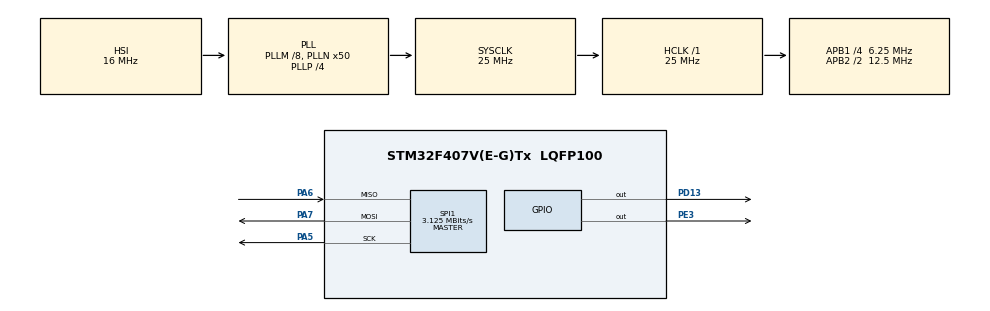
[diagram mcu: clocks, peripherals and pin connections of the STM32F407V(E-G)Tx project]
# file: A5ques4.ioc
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Mcu.Family=STM32F4
Mcu.Name=STM32F407V(E-G)Tx
Mcu.Package=LQFP100
NVIC.PriorityGroup=NVIC_PRIORITYGROUP_0
NVIC.TIM6_DAC_IRQn=true\:0\:0\:false\:false\:true\:true\:true\:true
PA5.Mode=Full_Duplex_Master
PA5.Signal=SPI1_SCK
PA6.Mode=Full_Duplex_Master
PA6.Signal=SPI1_MISO
PA7.Mode=Full_Duplex_Master
PA7.Signal=SPI1_MOSI
PD13.Signal=GPIO_Output
PE3.Signal=GPIO_Output
ProjectManager.HeapSize=0x200
ProjectManager.StackSize=0x400
ProjectManager.TargetToolchain=STM32CubeIDE
RCC.48MHZClocksFreq_Value=14285714.285714285
RCC.AHBFreq_Value=25000000
RCC.APB1CLKDivider=RCC_HCLK_DIV4
RCC.APB1Freq_Value=6250000
RCC.APB1TimFreq_Value=12500000
RCC.APB2CLKDivider=RCC_HCLK_DIV2
RCC.APB2Freq_Value=12500000
RCC.APB2TimFreq_Value=25000000
RCC.CortexFreq_Value=25000000
RCC.HCLKFreq_Value=25000000
RCC.HSE_VALUE=8000000
RCC.HSI_VALUE=16000000
RCC.LSE_VALUE=32768
RCC.PLLM=8
RCC.PLLN=50
RCC.PLLP=RCC_PLLP_DIV4
RCC.PLLQ=7
RCC.SYSCLKFreq_VALUE=25000000
RCC.SYSCLKSource=RCC_SYSCLKSOURCE_PLLCLK
RCC.VCOOutputFreq_Value=100000000
SPI1.BaudRatePrescaler=SPI_BAUDRATEPRESCALER_4
SPI1.CalculateBaudRate=3.125 MBits/s
SPI1.Direction=SPI_DIRECTION_2LINES
SPI1.Mode=SPI_MODE_MASTER
SPI1.VirtualType=VM_MASTER
TIM6.Period=999
TIM6.Prescaler=12499
VP_TIM6_VS_ClockSourceINT.Mode=Enable_Timer
board=STM32F407G-DISC1

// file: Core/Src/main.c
/* USER CODE BEGIN Header */
/**
  ******************************************************************************
  * @file           : main.c
  * @brief          : Main program body
  ******************************************************************************
  * @attention
  *
  * Copyright (c) 2026 STMicroelectronics.
  * All rights reserved.
  *
  * This software is licensed under terms that can be found in the LICENSE file
  * in the root directory of this software component.
  * If no LICENSE file comes with this software, it is provided AS-IS.
  *
  ******************************************************************************
  */
/* USER CODE END Header */
#include "main.h"

/* USER CODE BEGIN Includes */
#include "lis3dsh.h"
#include <stdio.h>
#include <string.h>
#include <math.h>
/* USER CODE END Includes */

SPI_HandleTypeDef hspi1;

TIM_HandleTypeDef htim6;

/* USER CODE BEGIN PV */
volatile uint8_t t_flag =0;
uint32_t led_delay = 1000;
char str[64];
/* USER CODE END PV */

void SystemClock_Config(void);
static void MX_GPIO_Init(void);
static void MX_SPI1_Init(void);
static void MX_TIM6_Init(void);

/* USER CODE BEGIN 0 */
void HAL_TIM_PeriodElapsedCallback (TIM_HandleTypeDef * htim) {

	if(htim->Instance == TIM6)
	{
		t_flag = 1;
	}

}
/* USER CODE END 0 */

int main(void)
{

  /* MCU Configuration--------------------------------------------------------*/

  /* Reset of all peripherals, Initializes the Flash interface and the Systick. */
  HAL_Init();

  /* Configure the system clock */
  SystemClock_Config();

  /* Initialize all configured peripherals */
  MX_GPIO_Init();
  MX_SPI1_Init();
  MX_TIM6_Init();
  /* USER CODE BEGIN 2 */
  accel_init();
  HAL_TIM_Base_Start_IT(&htim6);

  /* USER CODE END 2 */

  /* Infinite loop */
  /* USER CODE BEGIN WHILE */
  while (1)
  {
	  if(t_flag ==1)
	  {
		  t_flag =0;
		  accel_r val= accel_getreading();
	  	  sprintf(str,"X=%d, Y=%d, Z=%d",val.x,val.y,val.z);
	  	  uint32_t inclination;
	  	  inclination = sqrtf((float)val.x * val.x +(float)val.y * val.y);

	  	if (inclination < 1000)
	  	{
	  	    led_delay = 1000;
	  	}
	  	else if (inclination < 5000)
	  	{
	  	    led_delay = 700;
	  	}
	  	else if (inclination < 10000)
	  	{
	  	    led_delay = 400;
	  	}
	  	else if (inclination < 15000)
	  	{
	  	    led_delay = 200;
	  	}
	  	else
	  	{
	  	    led_delay = 100;
	  	}

	  	HAL_GPIO_TogglePin(GPIOD, GPIO_PIN_13);
	  	HAL_Delay(led_delay);
	  }
    /* USER CODE END WHILE */

  }
}

void SystemClock_Config(void)
{
  RCC_OscInitTypeDef RCC_OscInitStruct = {0};
  RCC_ClkInitTypeDef RCC_ClkInitStruct = {0};

  /** Configure the main internal regulator output voltage
  */
  __HAL_RCC_PWR_CLK_ENABLE();
  __HAL_PWR_VOLTAGESCALING_CONFIG(PWR_REGULATOR_VOLTAGE_SCALE1);

  /** Initializes the RCC Oscillators according to the specified parameters
  * in the RCC_OscInitTypeDef structure.
  */
  RCC_OscInitStruct.OscillatorType = RCC_OSCILLATORTYPE_HSI;
  RCC_OscInitStruct.HSIState = RCC_HSI_ON;
  RCC_OscInitStruct.HSICalibrationValue = RCC_HSICALIBRATION_DEFAULT;
  RCC_OscInitStruct.PLL.PLLState = RCC_PLL_ON;
  RCC_OscInitStruct.PLL.PLLSource = RCC_PLLSOURCE_HSI;
  RCC_OscInitStruct.PLL.PLLM = 8;
  RCC_OscInitStruct.PLL.PLLN = 50;
  RCC_OscInitStruct.PLL.PLLP = RCC_PLLP_DIV4;
  RCC_OscInitStruct.PLL.PLLQ = 7;
  if (HAL_RCC_OscConfig(&RCC_OscInitStruct) != HAL_OK)
  {
    Error_Handler();
  }

  /** Initializes the CPU, AHB and APB buses clocks
  */
  RCC_ClkInitStruct.ClockType = RCC_CLOCKTYPE_HCLK|RCC_CLOCKTYPE_SYSCLK
                              |RCC_CLOCKTYPE_PCLK1|RCC_CLOCKTYPE_PCLK2;
  RCC_ClkInitStruct.SYSCLKSource = RCC_SYSCLKSOURCE_PLLCLK;
  RCC_ClkInitStruct.AHBCLKDivider = RCC_SYSCLK_DIV1;
  RCC_ClkInitStruct.APB1CLKDivider = RCC_HCLK_DIV4;
  RCC_ClkInitStruct.APB2CLKDivider = RCC_HCLK_DIV2;

  if (HAL_RCC_ClockConfig(&RCC_ClkInitStruct, FLASH_LATENCY_0) != HAL_OK)
  {
    Error_Handler();
  }
}

static void MX_SPI1_Init(void)
{

  /* SPI1 parameter configuration*/
  hspi1.Instance = SPI1;
  hspi1.Init.Mode = SPI_MODE_MASTER;
  hspi1.Init.Direction = SPI_DIRECTION_2LINES;
  hspi1.Init.DataSize = SPI_DATASIZE_8BIT;
  hspi1.Init.CLKPolarity = SPI_POLARITY_LOW;
  hspi1.Init.CLKPhase = SPI_PHASE_1EDGE;
  hspi1.Init.NSS = SPI_NSS_SOFT;
  hspi1.Init.BaudRatePrescaler = SPI_BAUDRATEPRESCALER_4;
  hspi1.Init.FirstBit = SPI_FIRSTBIT_MSB;
  hspi1.Init.TIMode = SPI_TIMODE_DISABLE;
  hspi1.Init.CRCCalculation = SPI_CRCCALCULATION_DISABLE;
  hspi1.Init.CRCPolynomial = 10;
  if (HAL_SPI_Init(&hspi1) != HAL_OK)
  {
    Error_Handler();
  }

}

static void MX_TIM6_Init(void)
{

  TIM_MasterConfigTypeDef sMasterConfig = {0};

  htim6.Instance = TIM6;
  htim6.Init.Prescaler = 12499;
  htim6.Init.CounterMode = TIM_COUNTERMODE_UP;
  htim6.Init.Period = 999;
  htim6.Init.AutoReloadPreload = TIM_AUTORELOAD_PRELOAD_DISABLE;
  if (HAL_TIM_Base_Init(&htim6) != HAL_OK)
  {
    Error_Handler();
  }
  sMasterConfig.MasterOutputTrigger = TIM_TRGO_RESET;
  sMasterConfig.MasterSlaveMode = TIM_MASTERSLAVEMODE_DISABLE;
  if (HAL_TIMEx_MasterConfigSynchronization(&htim6, &sMasterConfig) != HAL_OK)
  {
    Error_Handler();
  }

}

static void MX_GPIO_Init(void)
{
  GPIO_InitTypeDef GPIO_InitStruct = {0};

  /* GPIO Ports Clock Enable */
  __HAL_RCC_GPIOE_CLK_ENABLE();
  __HAL_RCC_GPIOA_CLK_ENABLE();
  __HAL_RCC_GPIOD_CLK_ENABLE();

  /*Configure GPIO pin Output Level */
  HAL_GPIO_WritePin(GPIOE, GPIO_PIN_3, GPIO_PIN_RESET);

  /*Configure GPIO pin Output Level */
  HAL_GPIO_WritePin(GPIOD, GPIO_PIN_13, GPIO_PIN_RESET);

  /*Configure GPIO pin : PE3 */
  GPIO_InitStruct.Pin = GPIO_PIN_3;
  GPIO_InitStruct.Mode = GPIO_MODE_OUTPUT_PP;
  GPIO_InitStruct.Pull = GPIO_NOPULL;
  GPIO_InitStruct.Speed = GPIO_SPEED_FREQ_LOW;
  HAL_GPIO_Init(GPIOE, &GPIO_InitStruct);

  /*Configure GPIO pin : PD13 */
  GPIO_InitStruct.Pin = GPIO_PIN_13;
  GPIO_InitStruct.Mode = GPIO_MODE_OUTPUT_PP;
  GPIO_InitStruct.Pull = GPIO_NOPULL;
  GPIO_InitStruct.Speed = GPIO_SPEED_FREQ_LOW;
  HAL_GPIO_Init(GPIOD, &GPIO_InitStruct);

}

void Error_Handler(void)
{
  __disable_irq();
  while (1)
  {
  }
}
